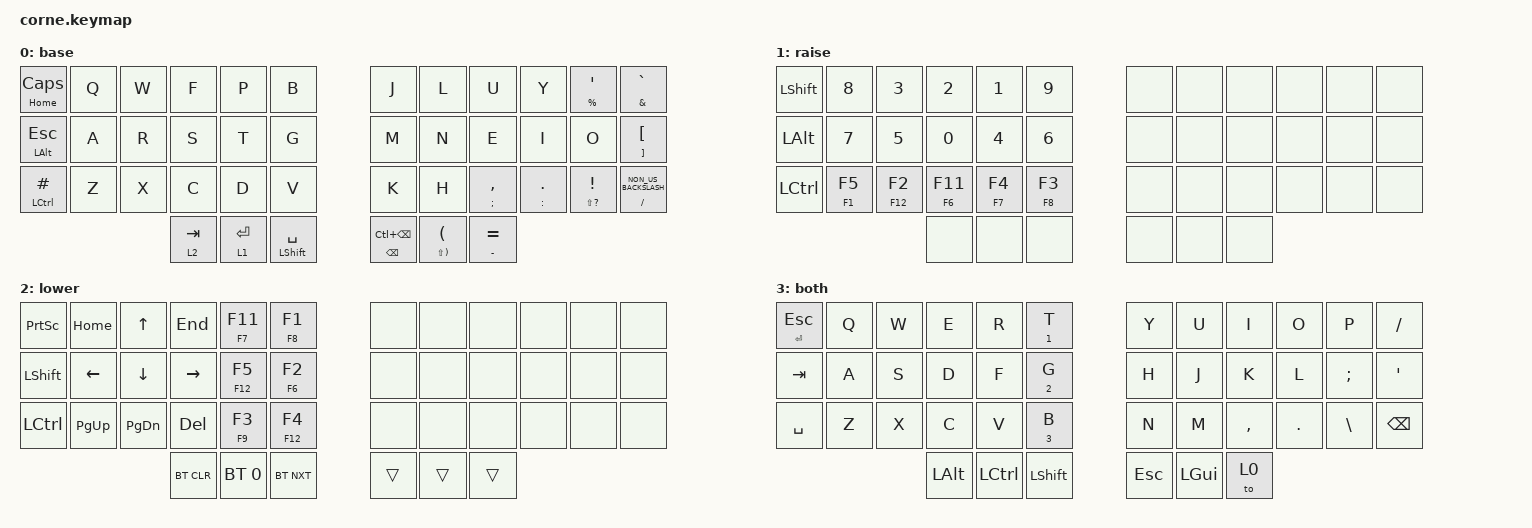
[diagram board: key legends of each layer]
/*
 * Copyright (c) 2020 The ZMK Contributors
 *
 * SPDX-License-Identifier: MIT
 */

#include <behaviors.dtsi>
#include <dt-bindings/zmk/bt.h>
#include <dt-bindings/zmk/keys.h>

/ {
    behaviors {
        new_behavior: new_behavior {
            compatible = "zmk,behavior-hold-tap";
            label = "NEW_BEHAVIOR";
            bindings = <&none>, <&none>;

            #binding-cells = <2>;
            tapping-term-ms = <800>;
        };
    };

    combos {
        compatible = "zmk,combos";

        GameLayer {
            bindings = <&to 3>;
            key-positions = <10 11>;
            layers = <0 3>;
        };

        Bluetooth {
            bindings = <&to 2>;
            key-positions = <0 12>;
            layers = <0 2>;
        };

        at {
            bindings = <&kp AT_SIGN>;
            key-positions = <16 3>;
            layers = <0>;
        };

        dollar {
            bindings = <&kp DOLLAR>;
            key-positions = <16 15>;
            layers = <0>;
        };

        star {
            bindings = <&kp ASTRK>;
            key-positions = <16 27>;
            layers = <0>;
        };

        caret {
            bindings = <&kp CARET>;
            key-positions = <16 17>;
            layers = <0>;
        };
    };

    keymap {
        compatible = "zmk,keymap";

        base {
            // -----------------------------------------------------------------------------------------
            // |  TAB |  Q  |  W  |  E  |  R  |  T  |   |  Y  |  U   |  I  |  O  |  P  | BKSP |
            // | CTRL |  A  |  S  |  D  |  F  |  G  |   |  H  |  J   |  K  |  L  |  ;  |  '   |
            // | SHFT |  Z  |  X  |  C  |  V  |  B  |   |  N  |  M   |  ,  |  .  |  /  | ESC  |
            //                    | GUI | LWR | SPC |   | ENT | RSE  | ALT |

            bindings = <
&mt HOME CAPSLOCK    &kp Q  &kp W  &kp F      &kp P        &kp B                   &kp J                        &kp L                                       &kp U                &kp Y             &mt PERCENT SQT               &mt AMPERSAND GRAVE
&mt LEFT_ALT ESCAPE  &kp A  &kp R  &kp S      &kp T        &kp G                   &kp M                        &kp N                                       &kp E                &kp I             &kp O                         &mt RIGHT_BRACKET LEFT_BRACKET
&mt LCTRL HASH       &kp Z  &kp X  &kp C      &kp D        &kp V                   &kp K                        &kp H                                       &mt SEMICOLON COMMA  &mt COLON PERIOD  &mt LS(QUESTION) EXCLAMATION  &mt SLASH NON_US_BACKSLASH
                                   &lt 2 TAB  &lt 1 ENTER  &mt LEFT_SHIFT SPACE    &mt BACKSPACE LC(BACKSPACE)  &mt LS(RIGHT_PARENTHESIS) LEFT_PARENTHESIS  &mt MINUS EQUAL
            >;
        };

        raise {
            // -----------------------------------------------------------------------------------------
            // |  TAB |  1  |  2  |  3  |  4  |  5  |   |  6  |  7  |  8  |  9  |  0  | BKSP |
            // | BTCLR| BT1 | BT2 | BT3 | BT4 | BT5 |   | LFT | DWN |  UP | RGT |     |      |
            // | SHFT |     |     |     |     |     |   |     |     |     |     |     |      |
            //                    | GUI |     | SPC |   | ENT |     | ALT |

            bindings = <
&kp LEFT_SHIFT  &kp N8     &kp N3      &kp N2      &kp N1     &kp N9       &none  &none  &none  &none  &none  &none
&kp LEFT_ALT    &kp N7     &kp N5      &kp N0      &kp N4     &kp N6       &none  &none  &none  &none  &none  &none
&kp LCTRL       &mt F1 F5  &mt F12 F2  &mt F6 F11  &mt F7 F4  &mt F8 F3    &none  &none  &none  &none  &none  &none
                                       &none       &none      &none        &none  &none  &none
            >;
        };

        lower {
            // -----------------------------------------------------------------------------------------
            // |  TAB |  !  |  @  |  #  |  $  |  %  |   |  ^  |  &  |  *  |  (  |  )  | BKSP |
            // | CTRL |     |     |     |     |     |   |  -  |  =  |  [  |  ]  |  \  |  `   |
            // | SHFT |     |     |     |     |     |   |  _  |  +  |  {  |  }  | "|" |  ~   |
            //                    | GUI |     | SPC |   | ENT |     | ALT |

            bindings = <
&kp PRINTSCREEN  &kp HOME   &kp UP_ARROW    &kp END     &mt F7 F11    &mt F8 F1     &none   &none   &none   &none  &none  &none
&kp LEFT_SHIFT   &kp LEFT   &kp DOWN_ARROW  &kp RIGHT   &mt F12 F5    &mt F6 F2     &none   &none   &none   &none  &none  &none
&kp LCTRL        &kp PG_UP  &kp PAGE_DOWN   &kp DELETE  &mt F9 F3     &mt F12 F4    &none   &none   &none   &none  &none  &none
                                            &bt BT_CLR  &bt BT_SEL 0  &bt BT_NXT    &trans  &trans  &trans
            >;
        };

        both {
            bindings = <
&mt ENTER ESC  &kp Q  &kp W  &kp E     &kp R      &mt NUMBER_1 T    &kp Y    &kp U     &kp I      &kp O    &kp P     &kp FSLH
&kp TAB        &kp A  &kp S  &kp D     &kp F      &mt NUMBER_2 G    &kp H    &kp J     &kp K      &kp L    &kp SEMI  &kp SQT
&kp SPACE      &kp Z  &kp X  &kp C     &kp V      &mt NUMBER_3 B    &kp N    &kp M     &kp COMMA  &kp DOT  &kp BSLH  &kp BACKSPACE
                             &kp LALT  &kp LCTRL  &kp LEFT_SHIFT    &kp ESC  &kp LGUI  &to 0
            >;
        };
    };
};
